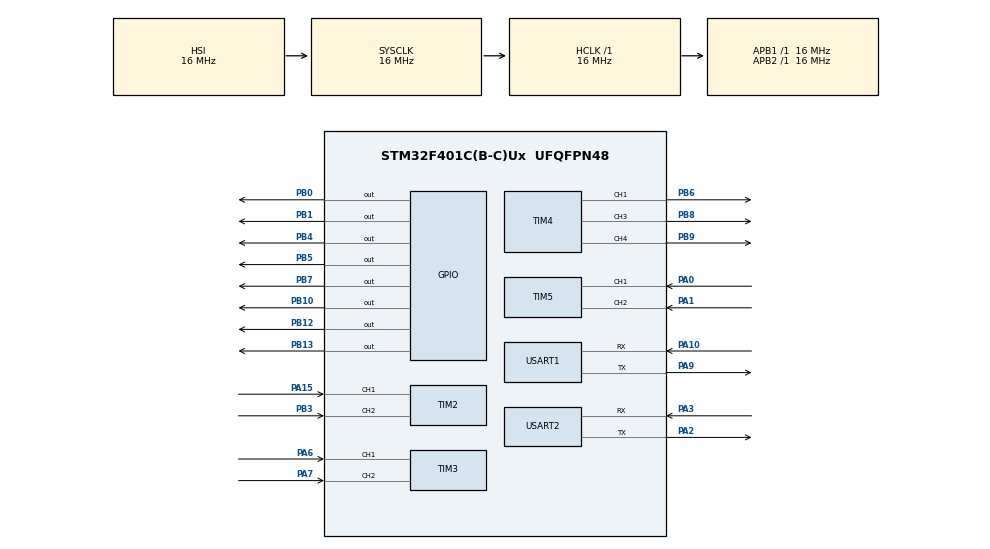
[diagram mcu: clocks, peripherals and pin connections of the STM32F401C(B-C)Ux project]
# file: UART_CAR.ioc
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Mcu.Family=STM32F4
Mcu.Name=STM32F401C(B-C)Ux
Mcu.Package=UFQFPN48
NVIC.PriorityGroup=NVIC_PRIORITYGROUP_4
NVIC.USART2_IRQn=true\:0\:0\:false\:false\:true\:true\:true\:true
PA0-WKUP.Signal=S_TIM5_CH1
PA1.Signal=S_TIM5_CH2
PA10.Mode=Asynchronous
PA10.Signal=USART1_RX
PA13.Mode=Serial_Wire
PA13.Signal=SYS_JTMS-SWDIO
PA14.Mode=Serial_Wire
PA14.Signal=SYS_JTCK-SWCLK
PA15.Signal=S_TIM2_CH1_ETR
PA2.Mode=Asynchronous
PA2.Signal=USART2_TX
PA3.Mode=Asynchronous
PA3.Signal=USART2_RX
PA6.Signal=S_TIM3_CH1
PA7.Signal=S_TIM3_CH2
PA9.Mode=Asynchronous
PA9.Signal=USART1_TX
PB0.Signal=GPIO_Output
PB1.Signal=GPIO_Output
PB10.Signal=GPIO_Output
PB12.Signal=GPIO_Output
PB13.Signal=GPIO_Output
PB3.Signal=S_TIM2_CH2
PB4.Signal=GPIO_Output
PB5.Signal=GPIO_Output
PB6.Signal=S_TIM4_CH1
PB7.Signal=GPIO_Output
PB8.Signal=S_TIM4_CH3
PB9.Signal=S_TIM4_CH4
ProjectManager.HeapSize=0x200
ProjectManager.StackSize=0x400
ProjectManager.TargetToolchain=CMake
RCC.AHBFreq_Value=16000000
RCC.APB1Freq_Value=16000000
RCC.APB2Freq_Value=16000000
RCC.CortexFreq_Value=16000000
RCC.HSE_VALUE=25000000
RCC.HSI_VALUE=16000000
RCC.LSE_VALUE=32768
RCC.SYSCLKFreq_VALUE=16000000
RCC.VCOOutputFreq_Value=192000000
SH.S_TIM2_CH1_ETR.0=TIM2_CH1,Encoder_Interface
SH.S_TIM2_CH2.0=TIM2_CH2,Encoder_Interface
SH.S_TIM3_CH1.0=TIM3_CH1,Encoder_Interface
SH.S_TIM3_CH2.0=TIM3_CH2,Encoder_Interface
SH.S_TIM4_CH1.0=TIM4_CH1,PWM Generation1 CH1
SH.S_TIM4_CH3.0=TIM4_CH3,PWM Generation3 CH3
SH.S_TIM4_CH4.0=TIM4_CH4,PWM Generation4 CH4
SH.S_TIM5_CH1.0=TIM5_CH1,Encoder_Interface
SH.S_TIM5_CH2.0=TIM5_CH2,Encoder_Interface
TIM4.Channel-PWM\ Generation1\ CH1=TIM_CHANNEL_1
TIM4.Channel-PWM\ Generation3\ CH3=TIM_CHANNEL_3
TIM4.Channel-PWM\ Generation4\ CH4=TIM_CHANNEL_4
USART1.VirtualMode=VM_ASYNC
USART2.VirtualMode=VM_ASYNC
board=custom

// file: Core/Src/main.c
/* USER CODE BEGIN Header */
/**
 ******************************************************************************
 * @file           : main.c
 * @brief          : Main program body
 ******************************************************************************
 * @attention
 *
 * Copyright (c) 2025 STMicroelectronics.
 * All rights reserved.
 *
 * This software is licensed under terms that can be found in the LICENSE file
 * in the root directory of this software component.
 * If no LICENSE file comes with this software, it is provided AS-IS.
 *
 ******************************************************************************
 */
/* USER CODE END Header */
#include "main.h"

TIM_HandleTypeDef htim2;
TIM_HandleTypeDef htim3;
TIM_HandleTypeDef htim4;
TIM_HandleTypeDef htim5;

UART_HandleTypeDef huart1;
UART_HandleTypeDef huart2;

void SystemClock_Config(void);
static void MX_GPIO_Init(void);
static void MX_USART2_UART_Init(void);
static void MX_USART1_UART_Init(void);
static void MX_TIM3_Init(void);
static void MX_TIM4_Init(void);
static void MX_TIM2_Init(void);
static void MX_TIM5_Init(void);

/* USER CODE BEGIN 0 */
#include "string.h"
#include "main.h"
#include "Packet.h"
#include "uart.h" // Include for uart_log_printf
#include "Motor_Angle.h"
#include "Speed_Motor.h"
#include "Horn.h"
#include "Light.h"

volatile uint8_t rxBuffer[sizeof(struct Packet)];
volatile uint8_t rxIndex = 0;
volatile uint8_t packetReceivedFlag = 0;

void HAL_UART_RxCpltCallback(UART_HandleTypeDef *huart)
{
  if (huart->Instance == USART2)
  {
    // The byte that just arrived is already in the location pointed to by the previous HAL_UART_Receive_IT call.
    // So, the byte is at rxBuffer[rxIndex].

    // Check for start bytes for synchronization
    if (rxIndex == 0)
    {
      // First byte received. Check if it's the start of a packet (0x55)
      if (rxBuffer[0] != 0x55)
      {
        // Not a start byte, reset index and prepare to receive the first byte again
        rxIndex = 0;
        HAL_UART_Receive_IT(&huart2, &rxBuffer[0], 1); // Restart reception for the first byte
        return;                                        // Exit callback
      }
    }
    else if (rxIndex == 1)
    {
      // Second byte received. Check if it's the second part of the start (0xAA)
      if (rxBuffer[1] != 0xAA)
      {
        // Not the correct second start byte, reset index and prepare to receive the first byte again
        rxIndex = 0;
        HAL_UART_Receive_IT(&huart2, &rxBuffer[0], 1); // Restart reception for the first byte
        return;                                        // Exit callback
      }
    }
    // Increment index for the next byte
    rxIndex++;

    // If a full packet is received
    if (rxIndex >= sizeof(struct Packet))
    {
      packetReceivedFlag = 1; // Signal main loop
      rxIndex = 0;            // Reset for the next packet
                              // Do NOT restart reception here, main loop will process and then restart
    }
    else
    {
      // Continue receiving the next byte into the next position
      HAL_UART_Receive_IT(&huart2, &rxBuffer[rxIndex], 1);
    }
  }
}

void uart2_send_bytes(uint8_t *data, uint16_t size)
{
  HAL_UART_Transmit(&huart2, data, size, HAL_MAX_DELAY);
}

/* volatile-safe copy helper */
static inline void memcpy_from_volatile(void *dst, const volatile void *src, size_t n)
{
  uint8_t *d = (uint8_t *)dst;
  const volatile uint8_t *s = (const volatile uint8_t *)src;
  for (size_t i = 0; i < n; ++i)
    d[i] = s[i];
}

/* USER CODE END 0 */

int main(void)
{

  /* MCU Configuration--------------------------------------------------------*/

  /* Reset of all peripherals, Initializes the Flash interface and the Systick. */
  HAL_Init();

  /* Configure the system clock */
  SystemClock_Config();

  /* Initialize all configured peripherals */
  MX_GPIO_Init();
  MX_USART2_UART_Init();
  MX_USART1_UART_Init();
  MX_TIM3_Init();
  MX_TIM4_Init();
  MX_TIM2_Init();
  MX_TIM5_Init();
  /* USER CODE BEGIN 2 */

  // Start the first UART receive IT
  // The first byte will be placed at rxBuffer[0]
  Encoder_Init(&htim3);
  Motor_Init_Angle();
  Horn_Init();
  Light_Init();
  Motor_init();

    // Initialize uart_log_printf with huart2
  uart_log_init(&huart2);
  uart_log_printf("STM32 Ready for Packets...\r\n");
  HAL_UART_Receive_IT(&huart2, &rxBuffer[0], 1);

  /* USER CODE END 2 */

  /* Infinite loop */
  while (1)
  {

    /* USER CODE BEGIN 3 */
    // Horn_On();
    // Light_Front_Off();
    // HAL_Delay(500); // 500 ms honk
    // Horn_Off();
    // Light_Front_On();
    // HAL_Delay(500); // 500 ms light on

    // Horn_Toggle();

        //     HAL_GPIO_WritePin(GPIOB, GPIO_PIN_4, GPIO_PIN_SET); // DIR = Forward
        // __HAL_TIM_SET_COMPARE(&htim4, TIM_CHANNEL_3, 2100); // ~50% duty if ARR=4199

    //         // 1. Start PWM
    // HAL_TIM_PWM_Start(&htim4, TIM_CHANNEL_3);

    // // 2. Set direction forward
    // HAL_GPIO_WritePin(GPIOB, GPIO_PIN_4, GPIO_PIN_SET);

    // // 3. Set ~50% duty cycle
    // uint32_t arr = __HAL_TIM_GET_AUTORELOAD(&htim4);
    // __HAL_TIM_SET_COMPARE(&htim4, TIM_CHANNEL_3, arr / 2);

    if (packetReceivedFlag)
    {
      packetReceivedFlag = 0;
      struct Packet receivedPacket;
      memcpy_from_volatile(&receivedPacket, rxBuffer, sizeof(struct Packet));
      uint8_t result = SerializePacket(&receivedPacket);
      switch (result)
      {
      case 0:
        uart2_send_bytes((uint8_t *)"Packet OK\r\n", strlen("Packet OK\r\n"));
        for (int i = 0; i < 4; i++)
        {
          char buf[8];
          int n = snprintf(buf, sizeof(buf), "%02X\r\n", receivedPacket.payload[i]);
          uart2_send_bytes((uint8_t *)buf, (uint16_t)n);
        }

        break;
      case 1:
        uart2_send_bytes((uint8_t *)"Invalid start or end packet values\r\n", strlen("Invalid..."));
        break;
      case 2:
        uart2_send_bytes((uint8_t *)"Checksum mismatch\r\n", strlen("Checksum mismatch\r\n"));
        break;
      case 3:
        uart2_send_bytes((uint8_t *)"Unknown packet ID\r\n", strlen("Unknown packet ID\r\n"));
        break;
      default:
        uart2_send_bytes((uint8_t *)"Bad Packet\r\n", strlen("Bad Packet\r\n"));
        break;
      }
      // After processing, restart reception for the next packet's first byte
      HAL_UART_Receive_IT(&huart2, &rxBuffer[0], 1);
    }
    // Encoder_ReadData(&htim3, 1);
    HAL_Delay(1);
  }
  /* USER CODE END 3 */
}

void SystemClock_Config(void)
{
  RCC_OscInitTypeDef RCC_OscInitStruct = {0};
  RCC_ClkInitTypeDef RCC_ClkInitStruct = {0};

  /** Configure the main internal regulator output voltage
  */
  __HAL_RCC_PWR_CLK_ENABLE();
  __HAL_PWR_VOLTAGESCALING_CONFIG(PWR_REGULATOR_VOLTAGE_SCALE2);

  /** Initializes the RCC Oscillators according to the specified parameters
  * in the RCC_OscInitTypeDef structure.
  */
  RCC_OscInitStruct.OscillatorType = RCC_OSCILLATORTYPE_HSI;
  RCC_OscInitStruct.HSIState = RCC_HSI_ON;
  RCC_OscInitStruct.HSICalibrationValue = RCC_HSICALIBRATION_DEFAULT;
  RCC_OscInitStruct.PLL.PLLState = RCC_PLL_NONE;
  if (HAL_RCC_OscConfig(&RCC_OscInitStruct) != HAL_OK)
  {
    Error_Handler();
  }

  /** Initializes the CPU, AHB and APB buses clocks
  */
  RCC_ClkInitStruct.ClockType = RCC_CLOCKTYPE_HCLK|RCC_CLOCKTYPE_SYSCLK
                              |RCC_CLOCKTYPE_PCLK1|RCC_CLOCKTYPE_PCLK2;
  RCC_ClkInitStruct.SYSCLKSource = RCC_SYSCLKSOURCE_HSI;
  RCC_ClkInitStruct.AHBCLKDivider = RCC_SYSCLK_DIV1;
  RCC_ClkInitStruct.APB1CLKDivider = RCC_HCLK_DIV1;
  RCC_ClkInitStruct.APB2CLKDivider = RCC_HCLK_DIV1;

  if (HAL_RCC_ClockConfig(&RCC_ClkInitStruct, FLASH_LATENCY_0) != HAL_OK)
  {
    Error_Handler();
  }
}

static void MX_TIM2_Init(void)
{

  TIM_Encoder_InitTypeDef sConfig = {0};
  TIM_MasterConfigTypeDef sMasterConfig = {0};

  htim2.Instance = TIM2;
  htim2.Init.Prescaler = 0;
  htim2.Init.CounterMode = TIM_COUNTERMODE_UP;
  htim2.Init.Period = 4294967295;
  htim2.Init.ClockDivision = TIM_CLOCKDIVISION_DIV1;
  htim2.Init.AutoReloadPreload = TIM_AUTORELOAD_PRELOAD_DISABLE;
  sConfig.EncoderMode = TIM_ENCODERMODE_TI1;
  sConfig.IC1Polarity = TIM_ICPOLARITY_RISING;
  sConfig.IC1Selection = TIM_ICSELECTION_DIRECTTI;
  sConfig.IC1Prescaler = TIM_ICPSC_DIV1;
  sConfig.IC1Filter = 0;
  sConfig.IC2Polarity = TIM_ICPOLARITY_RISING;
  sConfig.IC2Selection = TIM_ICSELECTION_DIRECTTI;
  sConfig.IC2Prescaler = TIM_ICPSC_DIV1;
  sConfig.IC2Filter = 0;
  if (HAL_TIM_Encoder_Init(&htim2, &sConfig) != HAL_OK)
  {
    Error_Handler();
  }
  sMasterConfig.MasterOutputTrigger = TIM_TRGO_RESET;
  sMasterConfig.MasterSlaveMode = TIM_MASTERSLAVEMODE_DISABLE;
  if (HAL_TIMEx_MasterConfigSynchronization(&htim2, &sMasterConfig) != HAL_OK)
  {
    Error_Handler();
  }

}

static void MX_TIM3_Init(void)
{

  TIM_Encoder_InitTypeDef sConfig = {0};
  TIM_MasterConfigTypeDef sMasterConfig = {0};

  htim3.Instance = TIM3;
  htim3.Init.Prescaler = 0;
  htim3.Init.CounterMode = TIM_COUNTERMODE_UP;
  htim3.Init.Period = 65535;
  htim3.Init.ClockDivision = TIM_CLOCKDIVISION_DIV1;
  htim3.Init.AutoReloadPreload = TIM_AUTORELOAD_PRELOAD_DISABLE;
  sConfig.EncoderMode = TIM_ENCODERMODE_TI1;
  sConfig.IC1Polarity = TIM_ICPOLARITY_RISING;
  sConfig.IC1Selection = TIM_ICSELECTION_DIRECTTI;
  sConfig.IC1Prescaler = TIM_ICPSC_DIV1;
  sConfig.IC1Filter = 0;
  sConfig.IC2Polarity = TIM_ICPOLARITY_RISING;
  sConfig.IC2Selection = TIM_ICSELECTION_DIRECTTI;
  sConfig.IC2Prescaler = TIM_ICPSC_DIV1;
  sConfig.IC2Filter = 0;
  if (HAL_TIM_Encoder_Init(&htim3, &sConfig) != HAL_OK)
  {
    Error_Handler();
  }
  sMasterConfig.MasterOutputTrigger = TIM_TRGO_RESET;
  sMasterConfig.MasterSlaveMode = TIM_MASTERSLAVEMODE_DISABLE;
  if (HAL_TIMEx_MasterConfigSynchronization(&htim3, &sMasterConfig) != HAL_OK)
  {
    Error_Handler();
  }

}

static void MX_TIM4_Init(void)
{

  TIM_MasterConfigTypeDef sMasterConfig = {0};
  TIM_OC_InitTypeDef sConfigOC = {0};

  htim4.Instance = TIM4;
  htim4.Init.Prescaler = 0;
  htim4.Init.CounterMode = TIM_COUNTERMODE_UP;
  htim4.Init.Period = 65535;
  htim4.Init.ClockDivision = TIM_CLOCKDIVISION_DIV1;
  htim4.Init.AutoReloadPreload = TIM_AUTORELOAD_PRELOAD_DISABLE;
  if (HAL_TIM_PWM_Init(&htim4) != HAL_OK)
  {
    Error_Handler();
  }
  sMasterConfig.MasterOutputTrigger = TIM_TRGO_RESET;
  sMasterConfig.MasterSlaveMode = TIM_MASTERSLAVEMODE_DISABLE;
  if (HAL_TIMEx_MasterConfigSynchronization(&htim4, &sMasterConfig) != HAL_OK)
  {
    Error_Handler();
  }
  sConfigOC.OCMode = TIM_OCMODE_PWM1;
  sConfigOC.Pulse = 0;
  sConfigOC.OCPolarity = TIM_OCPOLARITY_HIGH;
  sConfigOC.OCFastMode = TIM_OCFAST_DISABLE;
  if (HAL_TIM_PWM_ConfigChannel(&htim4, &sConfigOC, TIM_CHANNEL_1) != HAL_OK)
  {
    Error_Handler();
  }
  if (HAL_TIM_PWM_ConfigChannel(&htim4, &sConfigOC, TIM_CHANNEL_3) != HAL_OK)
  {
    Error_Handler();
  }
  if (HAL_TIM_PWM_ConfigChannel(&htim4, &sConfigOC, TIM_CHANNEL_4) != HAL_OK)
  {
    Error_Handler();
  }
  HAL_TIM_MspPostInit(&htim4);

}

static void MX_TIM5_Init(void)
{

  TIM_Encoder_InitTypeDef sConfig = {0};
  TIM_MasterConfigTypeDef sMasterConfig = {0};

  htim5.Instance = TIM5;
  htim5.Init.Prescaler = 0;
  htim5.Init.CounterMode = TIM_COUNTERMODE_UP;
  htim5.Init.Period = 4294967295;
  htim5.Init.ClockDivision = TIM_CLOCKDIVISION_DIV1;
  htim5.Init.AutoReloadPreload = TIM_AUTORELOAD_PRELOAD_DISABLE;
  sConfig.EncoderMode = TIM_ENCODERMODE_TI1;
  sConfig.IC1Polarity = TIM_ICPOLARITY_RISING;
  sConfig.IC1Selection = TIM_ICSELECTION_DIRECTTI;
  sConfig.IC1Prescaler = TIM_ICPSC_DIV1;
  sConfig.IC1Filter = 0;
  sConfig.IC2Polarity = TIM_ICPOLARITY_RISING;
  sConfig.IC2Selection = TIM_ICSELECTION_DIRECTTI;
  sConfig.IC2Prescaler = TIM_ICPSC_DIV1;
  sConfig.IC2Filter = 0;
  if (HAL_TIM_Encoder_Init(&htim5, &sConfig) != HAL_OK)
  {
    Error_Handler();
  }
  sMasterConfig.MasterOutputTrigger = TIM_TRGO_RESET;
  sMasterConfig.MasterSlaveMode = TIM_MASTERSLAVEMODE_DISABLE;
  if (HAL_TIMEx_MasterConfigSynchronization(&htim5, &sMasterConfig) != HAL_OK)
  {
    Error_Handler();
  }

}

static void MX_USART1_UART_Init(void)
{

  huart1.Instance = USART1;
  huart1.Init.BaudRate = 115200;
  huart1.Init.WordLength = UART_WORDLENGTH_8B;
  huart1.Init.StopBits = UART_STOPBITS_1;
  huart1.Init.Parity = UART_PARITY_NONE;
  huart1.Init.Mode = UART_MODE_TX_RX;
  huart1.Init.HwFlowCtl = UART_HWCONTROL_NONE;
  huart1.Init.OverSampling = UART_OVERSAMPLING_16;
  if (HAL_UART_Init(&huart1) != HAL_OK)
  {
    Error_Handler();
  }

}

static void MX_USART2_UART_Init(void)
{

  huart2.Instance = USART2;
  huart2.Init.BaudRate = 115200;
  huart2.Init.WordLength = UART_WORDLENGTH_8B;
  huart2.Init.StopBits = UART_STOPBITS_1;
  huart2.Init.Parity = UART_PARITY_NONE;
  huart2.Init.Mode = UART_MODE_TX_RX;
  huart2.Init.HwFlowCtl = UART_HWCONTROL_NONE;
  huart2.Init.OverSampling = UART_OVERSAMPLING_16;
  if (HAL_UART_Init(&huart2) != HAL_OK)
  {
    Error_Handler();
  }

}

static void MX_GPIO_Init(void)
{
  GPIO_InitTypeDef GPIO_InitStruct = {0};

  /* GPIO Ports Clock Enable */
  __HAL_RCC_GPIOA_CLK_ENABLE();
  __HAL_RCC_GPIOB_CLK_ENABLE();

  /*Configure GPIO pin Output Level */
  HAL_GPIO_WritePin(GPIOB, GPIO_PIN_0|GPIO_PIN_1|GPIO_PIN_10|GPIO_PIN_12
                          |GPIO_PIN_13|GPIO_PIN_4|GPIO_PIN_5|GPIO_PIN_7, GPIO_PIN_RESET);

  /*Configure GPIO pins : PB0 PB1 PB10 PB12
                           PB13 PB4 PB5 PB7 */
  GPIO_InitStruct.Pin = GPIO_PIN_0|GPIO_PIN_1|GPIO_PIN_10|GPIO_PIN_12
                          |GPIO_PIN_13|GPIO_PIN_4|GPIO_PIN_5|GPIO_PIN_7;
  GPIO_InitStruct.Mode = GPIO_MODE_OUTPUT_PP;
  GPIO_InitStruct.Pull = GPIO_NOPULL;
  GPIO_InitStruct.Speed = GPIO_SPEED_FREQ_LOW;
  HAL_GPIO_Init(GPIOB, &GPIO_InitStruct);

}

/* USER CODE BEGIN 4 */

// void HAL_UART_RxCpltCallback(UART_HandleTypeDef *huart) {
//     if (huart->Instance == USART2) {
//         // Echo back the received character
//         HAL_UART_Transmit(&huart2, &rxChar, 1, HAL_MAX_DELAY);

//         // Restart reception
//         HAL_UART_Receive_IT(&huart2, &rxChar, 1);
//     }
// }

/* USER CODE END 4 */

void Error_Handler(void)
{
  __disable_irq();
  while (1)
  {
  }
}
